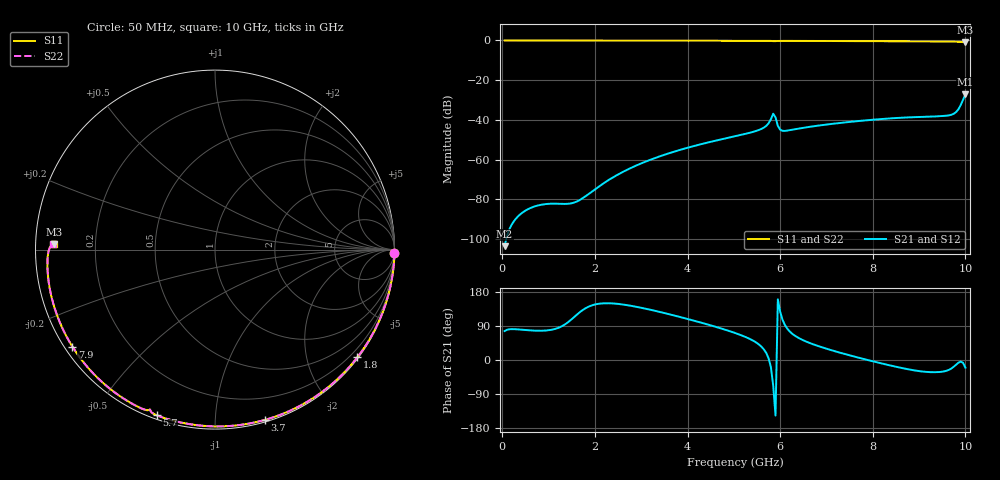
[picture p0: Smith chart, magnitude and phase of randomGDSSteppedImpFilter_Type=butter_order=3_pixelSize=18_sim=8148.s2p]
! freq	dB(S11)	phase(S11)	dB(S12)	phase(S12)
!  dB(S21)	phase(S21)	dB(S22)	phase(S22)
!S-par simulation data
#  GHz  S  DB  R 50
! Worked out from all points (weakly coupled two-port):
!   200 points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, 50 MHz to 10 GHz, reference 50 ohm
!   highest |S21| = -27.17 dB at 10 GHz (marker M1); lowest = -103.5 dB at 50 MHz (marker M2)
!   lowest |S11| = -0.9 dB at 10 GHz (marker M3), VSWR 18.88, Z = 2.65 + j0.888 ohm
!   |S11| at or under -10 dB: nowhere
!   |S22| runs from -0.9 to 0.0 dB; largest |S21 - S12| = 0
!   S11 on the Smith chart (normalised r, x): 50 MHz: open; 1.8 GHz: 0.03, -2.98; 3.7 GHz: 0.02, -1.33; 5.7 GHz: 0.02, -0.71; 7.9 GHz: 0.02, -0.31; 10 GHz: 0.05, +0.02
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0.05  -0.00 -1.1  -103.50 76.3  -103.50 76.3  -0.00 -1.1
0.85  -0.02 -17.7  -82.61 77.2  -82.61 77.2  -0.02 -17.7
1.65  -0.04 -34.1  -80.56 123.8  -80.56 123.8  -0.04 -34.1
1.75  -0.05 -36.1  -79.15 132.9  -79.15 132.9  -0.05 -36.1
1.8  -0.05 -37.1  -78.34 136.7  -78.34 136.7  -0.05 -37.1
2.55  -0.07 -51.9  -66.79 147.3  -66.79 147.3  -0.07 -51.9
3.4  -0.09 -68.2  -58.31 126.9  -58.31 126.9  -0.09 -68.1
3.7  -0.10 -73.8  -56.03 117.8  -56.03 117.8  -0.10 -73.7
5.05  -0.15 -98.0  -48.06 70.3  -48.06 70.3  -0.15 -97.9
5.5  -0.17 -105.8  -45.38 44.7  -45.38 44.7  -0.17 -105.8
5.7  -0.19 -109.4  -42.96 18.4  -42.96 18.4  -0.19 -109.3
5.75  -0.20 -110.4  -41.69 4.7  -41.69 4.7  -0.20 -110.3
5.85  -0.34 -112.2  -36.86 -67.6  -36.86 -67.6  -0.33 -112.1
5.9  -0.33 -112.0  -38.71 -146.7  -38.71 -146.7  -0.32 -112.0
5.95  -0.25 -112.8  -42.95 160.0  -42.95 160.0  -0.25 -112.8
6.05  -0.22 -114.7  -45.45 106.7  -45.45 106.7  -0.22 -114.7
6.7  -0.25 -125.8  -43.24 42.0  -43.24 42.0  -0.25 -125.8
7.9  -0.35 -145.8  -40.09 -0.4  -40.09 -0.4  -0.35 -145.7
8.35  -0.39 -153.3  -39.25 -13.7  -39.25 -13.7  -0.39 -153.2
9.7  -0.59 -177.0  -37.37 -22.2  -37.37 -22.2  -0.59 -176.9
9.85  -0.68 -180.0  -34.58 -7.1  -34.58 -7.1  -0.67 -179.8
10  -0.92 178.0  -27.17 -20.1  -27.17 -20.1  -0.91 178.1
